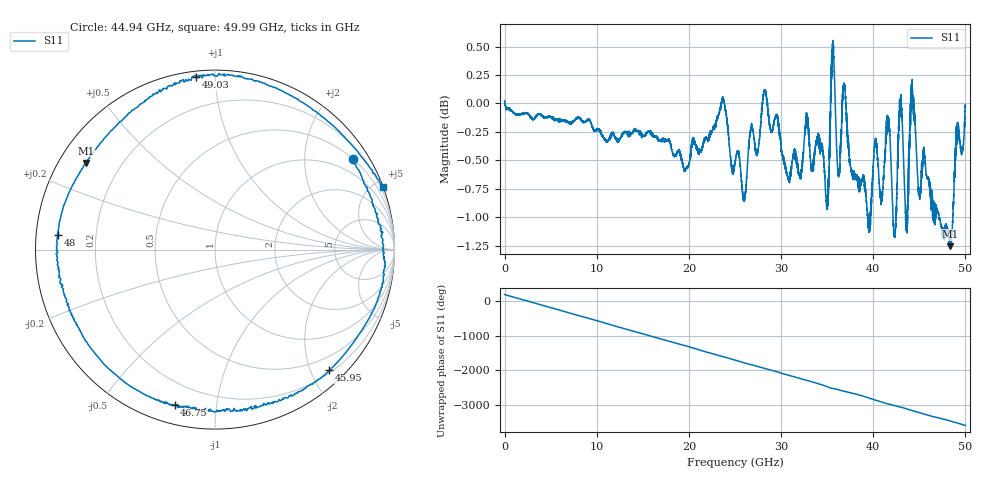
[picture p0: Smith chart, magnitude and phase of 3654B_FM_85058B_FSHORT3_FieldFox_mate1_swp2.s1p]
!Created with skrf (http://scikit-rf.org).
# Hz S RI R 50.0
!freq ReS11 ImS11
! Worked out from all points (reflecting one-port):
!   10000 points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, 5.3 MHz to 50 GHz, reference 50 ohm
!   lowest |S11| = -1.3 dB at 48.38 GHz (marker M1), VSWR 13.86, Z = 3.94 + j15.2 ohm
!   phase of S11 starts at 180 deg and turns -3760 deg over the sweep
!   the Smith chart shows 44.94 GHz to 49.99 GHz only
!   S11 on the Smith chart (normalised r, x): 44.94 GHz: 0.51, +3.27; 45.95 GHz: 0.24, -2.30; 46.75 GHz: 0.09, -0.77; 48 GHz: 0.06, +0.04; 49.03 GHz: 0.03, +0.90; 49.99 GHz: 0.03, +5.58
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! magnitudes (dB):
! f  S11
! 5.3 MHz  0.0
! 6.255 GHz  -0.2
! 12.51 GHz  -0.3
! 18.76 GHz  -0.4
! 23.69 GHz  0.0
! 25.01 GHz  -0.5
! 26.03 GHz  -0.9
! 28.25 GHz  0.1
! 31.26 GHz  -0.5
! 34.98 GHz  -0.9
! 35.63 GHz  0.6
! 36.19 GHz  -0.6
! 36.84 GHz  0.1
! 37.51 GHz  -0.5
! 39.55 GHz  -1.1
! 41.62 GHz  -0.1
! 42.32 GHz  -1.2
! 42.98 GHz  0.0
! 43.76 GHz  -0.8
! 44.27 GHz  0.1
! 44.94 GHz  -0.7
! 45.95 GHz  -0.7
! 46.75 GHz  -1.0
! 48 GHz  -1.1
! 48.38 GHz  -1.3
! 49.03 GHz  -0.3
! 49.99 GHz  0.0
! 50 GHz  0.0
